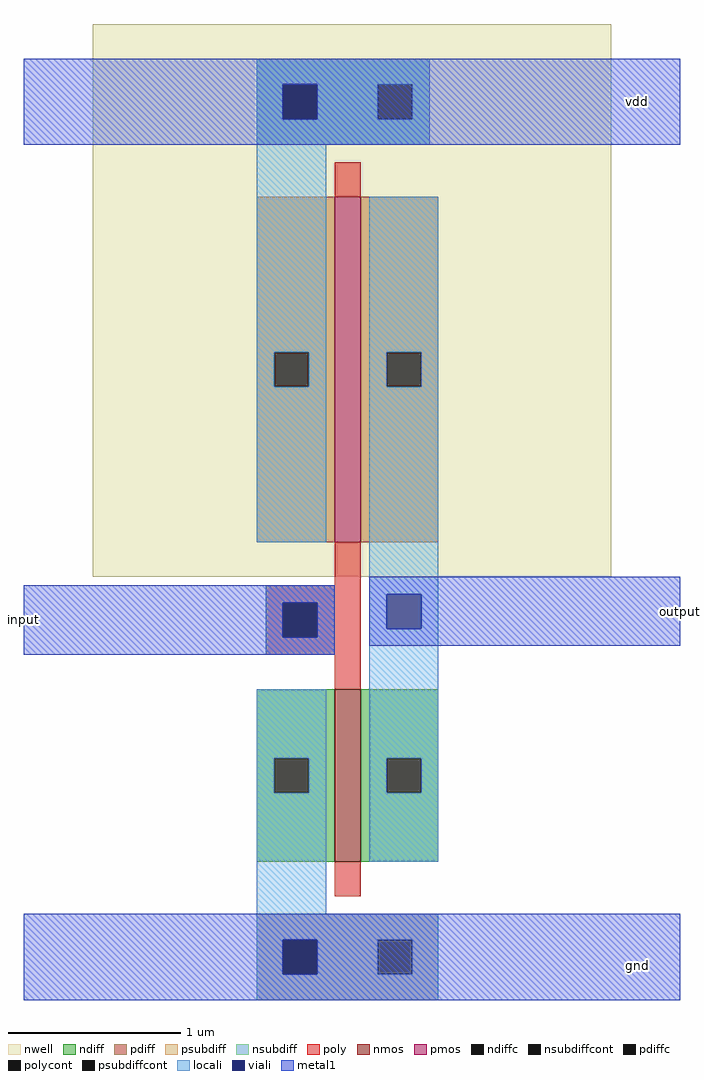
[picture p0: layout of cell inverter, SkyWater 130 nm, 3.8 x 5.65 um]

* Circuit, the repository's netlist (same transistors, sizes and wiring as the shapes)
* SPICE3 file created from inverter.ext - technology: sky130A

X0 output input gnd gnd sky130_fd_pr__nfet_01v8 ad=0.45 pd=2.9 as=0.45 ps=2.9 w=1 l=0.15
X1 output input vdd vdd sky130_fd_pr__pfet_01v8 ad=0.9 pd=4.9 as=0.9 ps=4.9 w=2 l=0.15

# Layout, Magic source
magic
tech sky130A
<< nwell >>
rect -200 -120 100 200
<< nmos >>
rect -60 -285 -45 -185
<< pmos >>
rect -60 -100 -45 100
<< ndiff >>
rect -105 -225 -60 -185
rect -105 -245 -95 -225
rect -75 -245 -60 -225
rect -105 -285 -60 -245
rect -45 -225 0 -185
rect -45 -245 -30 -225
rect -10 -245 0 -225
rect -45 -285 0 -245
<< pdiff >>
rect -105 10 -60 100
rect -105 -10 -95 10
rect -75 -10 -60 10
rect -105 -100 -60 -10
rect -45 10 0 100
rect -45 -10 -30 10
rect -10 -10 0 10
rect -45 -100 0 -10
<< ndiffc >>
rect -95 -245 -75 -225
rect -30 -245 -10 -225
<< pdiffc >>
rect -95 -10 -75 10
rect -30 -10 -10 10
<< psubdiff >>
rect -105 -330 0 -315
rect -105 -350 -90 -330
rect -70 -350 -35 -330
rect -15 -350 0 -330
rect -105 -365 0 -350
<< nsubdiff >>
rect -105 165 -5 180
rect -105 145 -90 165
rect -70 145 -35 165
rect -15 145 -5 165
rect -105 130 -5 145
<< psubdiffcont >>
rect -90 -350 -70 -330
rect -35 -350 -15 -330
<< nsubdiffcont >>
rect -90 145 -70 165
rect -35 145 -15 165
<< poly >>
rect -60 100 -45 120
rect -60 -125 -45 -100
rect -100 -135 -45 -125
rect -100 -155 -90 -135
rect -70 -155 -45 -135
rect -100 -165 -45 -155
rect -60 -185 -45 -165
rect -60 -305 -45 -285
<< polycont >>
rect -90 -155 -70 -135
<< locali >>
rect -105 165 -5 180
rect -105 145 -90 165
rect -70 145 -35 165
rect -15 145 -5 165
rect -105 130 -5 145
rect -105 10 -65 130
rect -105 -10 -95 10
rect -75 -10 -65 10
rect -105 -100 -65 -10
rect -40 10 0 100
rect -40 -10 -30 10
rect -10 -10 0 10
rect -100 -135 -60 -125
rect -100 -155 -90 -135
rect -70 -155 -60 -135
rect -100 -165 -60 -155
rect -40 -130 0 -10
rect -40 -150 -30 -130
rect -10 -150 0 -130
rect -105 -225 -65 -185
rect -105 -245 -95 -225
rect -75 -245 -65 -225
rect -105 -315 -65 -245
rect -40 -225 0 -150
rect -40 -245 -30 -225
rect -10 -245 0 -225
rect -40 -285 0 -245
rect -105 -330 0 -315
rect -105 -350 -90 -330
rect -70 -350 -35 -330
rect -15 -350 0 -330
rect -105 -365 0 -350
<< viali >>
rect -90 145 -70 165
rect -90 -155 -70 -135
rect -30 -150 -10 -130
rect -90 -350 -70 -330
<< metal1 >>
rect -240 165 140 180
rect -240 145 -90 165
rect -70 145 140 165
rect -240 130 140 145
rect -240 -135 -60 -125
rect -240 -155 -90 -135
rect -70 -155 -60 -135
rect -240 -165 -60 -155
rect -40 -130 140 -120
rect -40 -150 -30 -130
rect -10 -150 140 -130
rect -40 -160 140 -150
rect -240 -330 140 -315
rect -240 -350 -90 -330
rect -70 -350 140 -330
rect -240 -365 140 -350
<< labels >>
rlabel metal1 115 155 115 155 1 vdd
rlabel metal1 115 -345 115 -345 1 gnd
rlabel metal1 140 -160 140 -120 7 output
rlabel metal1 -240 -165 -240 -125 3 input
<< end >>
